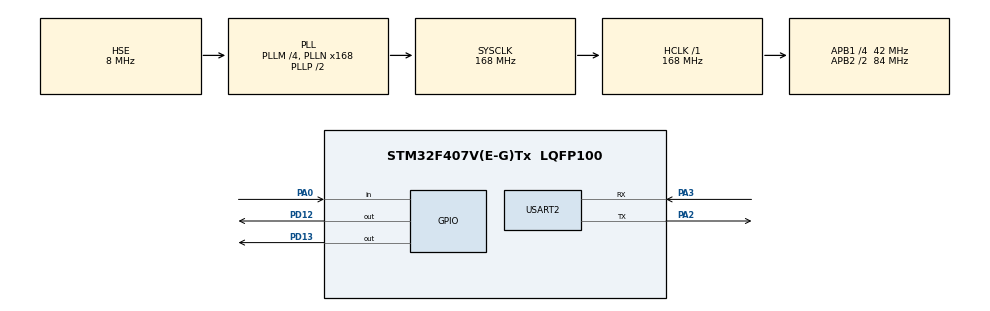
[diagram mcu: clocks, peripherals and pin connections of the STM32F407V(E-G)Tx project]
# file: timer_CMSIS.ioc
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FREERTOS.Tasks01=uartTask,0,128,UartTask,Default,NULL,Dynamic,NULL,NULL;ledTask,0,128,LedTask,Default,NULL,Dynamic,NULL,NULL
FREERTOS.Timers01=periodicTimer,PTCallback,osTimerPeriodic,Default,NULL,Dynamic,NULL;onceTimer,OTCallback,osTimerOnce,Default,NULL,Dynamic,NULL
FREERTOS.configTIMER_TASK_PRIORITY=6
FREERTOS.configUSE_TIMERS=1
Mcu.Family=STM32F4
Mcu.Name=STM32F407V(E-G)Tx
Mcu.Package=LQFP100
NVIC.PriorityGroup=NVIC_PRIORITYGROUP_4
NVIC.TIM6_DAC_IRQn=true\:15\:0\:false\:false\:true\:false\:false\:true
NVIC.TimeBase=TIM6_DAC_IRQn
NVIC.TimeBaseIP=TIM6
NVIC.USART2_IRQn=true\:5\:0\:false\:false\:true\:true\:true\:true
PA0-WKUP.Signal=GPIO_Input
PA2.Mode=Asynchronous
PA2.Signal=USART2_TX
PA3.Mode=Asynchronous
PA3.Signal=USART2_RX
PD12.Signal=GPIO_Output
PD13.Signal=GPIO_Output
PH0-OSC_IN.Mode=HSE-External-Oscillator
PH0-OSC_IN.Signal=RCC_OSC_IN
PH1-OSC_OUT.Mode=HSE-External-Oscillator
PH1-OSC_OUT.Signal=RCC_OSC_OUT
ProjectManager.HeapSize=0x200
ProjectManager.StackSize=0x400
ProjectManager.TargetToolchain=STM32CubeIDE
RCC.48MHZClocksFreq_Value=84000000
RCC.AHBFreq_Value=168000000
RCC.APB1CLKDivider=RCC_HCLK_DIV4
RCC.APB1Freq_Value=42000000
RCC.APB1TimFreq_Value=84000000
RCC.APB2CLKDivider=RCC_HCLK_DIV2
RCC.APB2Freq_Value=84000000
RCC.APB2TimFreq_Value=168000000
RCC.CortexFreq_Value=168000000
RCC.HCLKFreq_Value=168000000
RCC.HSE_VALUE=8000000
RCC.HSI_VALUE=16000000
RCC.LSE_VALUE=32768
RCC.PLLM=4
RCC.PLLN=168
RCC.PLLSourceVirtual=RCC_PLLSOURCE_HSE
RCC.SYSCLKFreq_VALUE=168000000
RCC.SYSCLKSource=RCC_SYSCLKSOURCE_PLLCLK
RCC.VCOOutputFreq_Value=336000000
USART2.VirtualMode=VM_ASYNC
VP_FREERTOS_VS_CMSIS_V1.Mode=CMSIS_V1
VP_SYS_VS_tim6.Mode=TIM6
board=custom

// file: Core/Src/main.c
/* USER CODE BEGIN Header */
/**
  ******************************************************************************
  * @file           : main.c
  * @brief          : Main program body
  ******************************************************************************
  * @attention
  *
  * Copyright (c) 2022 STMicroelectronics.
  * All rights reserved.
  *
  * This software is licensed under terms that can be found in the LICENSE file
  * in the root directory of this software component.
  * If no LICENSE file comes with this software, it is provided AS-IS.
  *
  ******************************************************************************
  */
/* USER CODE END Header */
#include "main.h"
//#include "cmsis_os.h"

/* USER CODE BEGIN Includes */
#include "FreeRTOS.h"
#include "task.h"
#include "timers.h"
#include "queue.h"
#include "semphr.h"
#include "event_groups.h"

/* USER CODE END Includes */

UART_HandleTypeDef huart2;

/* USER CODE BEGIN PV */
//create timer handle
xTimerHandle PTHandle;
xTimerHandle OTHandle;

//create task handle
xTaskHandle uartHandle;
xTaskHandle ledHandle;

//Task functions
void uartTask(void *argument)
{
	xTimerStart(PTHandle,0);
	while(1)
	{
		HAL_UART_Transmit(&huart2, (uint8_t *)"Sending from UART TASK\n",23, 100);
		vTaskDelay(pdMS_TO_TICKS(2000));
	}
}

void ledTask(void *argument)
{
	while(1)
	{
		if(HAL_GPIO_ReadPin(GPIOA, GPIO_PIN_0))
		{
			HAL_GPIO_WritePin(GPIOD, GPIO_PIN_12, 1);
			xTimerStart(OTHandle,0);
		}
		vTaskDelay(pdMS_TO_TICKS(20));
	}
}

void TimerCallback(xTimerHandle xTimer)
{
	if(xTimer == PTHandle)
	{
		HAL_UART_Transmit(&huart2, (uint8_t *)"Sending from Timer Callback\n",28, 100);
	}
	else if(xTimer == OTHandle)
	{
		HAL_GPIO_WritePin(GPIOD, GPIO_PIN_12, 0);
	}
}
/* USER CODE END PV */

void SystemClock_Config(void);
static void MX_GPIO_Init(void);
static void MX_USART2_UART_Init(void);

int main(void)
{

  /* MCU Configuration--------------------------------------------------------*/

  /* Reset of all peripherals, Initializes the Flash interface and the Systick. */
  HAL_Init();

  /* Configure the system clock */
  SystemClock_Config();

  /* Initialize all configured peripherals */
  MX_GPIO_Init();
  MX_USART2_UART_Init();
  /* USER CODE BEGIN 2 */
  //create timer
  PTHandle = xTimerCreate("timer1", pdMS_TO_TICKS(1000), pdTRUE, (void *)1, TimerCallback);
  OTHandle = xTimerCreate("timer2", pdMS_TO_TICKS(4000), pdFALSE, (void *)2, TimerCallback);

  //create tasks
  xTaskCreate(uartTask, "uart", 128, NULL, 1, &uartHandle);
  xTaskCreate(ledTask, "led", 128, NULL, 1, &ledHandle);

  //start
  vTaskStartScheduler();

  /* USER CODE END 2 */

  /* Infinite loop */
  while (1)
  {

  }
}

void SystemClock_Config(void)
{
  RCC_OscInitTypeDef RCC_OscInitStruct = {0};
  RCC_ClkInitTypeDef RCC_ClkInitStruct = {0};

  /** Configure the main internal regulator output voltage
  */
  __HAL_RCC_PWR_CLK_ENABLE();
  __HAL_PWR_VOLTAGESCALING_CONFIG(PWR_REGULATOR_VOLTAGE_SCALE1);
  /** Initializes the RCC Oscillators according to the specified parameters
  * in the RCC_OscInitTypeDef structure.
  */
  RCC_OscInitStruct.OscillatorType = RCC_OSCILLATORTYPE_HSE;
  RCC_OscInitStruct.HSEState = RCC_HSE_ON;
  RCC_OscInitStruct.PLL.PLLState = RCC_PLL_ON;
  RCC_OscInitStruct.PLL.PLLSource = RCC_PLLSOURCE_HSE;
  RCC_OscInitStruct.PLL.PLLM = 4;
  RCC_OscInitStruct.PLL.PLLN = 168;
  RCC_OscInitStruct.PLL.PLLP = RCC_PLLP_DIV2;
  RCC_OscInitStruct.PLL.PLLQ = 4;
  if (HAL_RCC_OscConfig(&RCC_OscInitStruct) != HAL_OK)
  {
    Error_Handler();
  }
  /** Initializes the CPU, AHB and APB buses clocks
  */
  RCC_ClkInitStruct.ClockType = RCC_CLOCKTYPE_HCLK|RCC_CLOCKTYPE_SYSCLK
                              |RCC_CLOCKTYPE_PCLK1|RCC_CLOCKTYPE_PCLK2;
  RCC_ClkInitStruct.SYSCLKSource = RCC_SYSCLKSOURCE_PLLCLK;
  RCC_ClkInitStruct.AHBCLKDivider = RCC_SYSCLK_DIV1;
  RCC_ClkInitStruct.APB1CLKDivider = RCC_HCLK_DIV4;
  RCC_ClkInitStruct.APB2CLKDivider = RCC_HCLK_DIV2;

  if (HAL_RCC_ClockConfig(&RCC_ClkInitStruct, FLASH_LATENCY_5) != HAL_OK)
  {
    Error_Handler();
  }
}

static void MX_USART2_UART_Init(void)
{

  huart2.Instance = USART2;
  huart2.Init.BaudRate = 115200;
  huart2.Init.WordLength = UART_WORDLENGTH_8B;
  huart2.Init.StopBits = UART_STOPBITS_1;
  huart2.Init.Parity = UART_PARITY_NONE;
  huart2.Init.Mode = UART_MODE_TX_RX;
  huart2.Init.HwFlowCtl = UART_HWCONTROL_NONE;
  huart2.Init.OverSampling = UART_OVERSAMPLING_16;
  if (HAL_UART_Init(&huart2) != HAL_OK)
  {
    Error_Handler();
  }

}

static void MX_GPIO_Init(void)
{
  GPIO_InitTypeDef GPIO_InitStruct = {0};

  /* GPIO Ports Clock Enable */
  __HAL_RCC_GPIOH_CLK_ENABLE();
  __HAL_RCC_GPIOA_CLK_ENABLE();
  __HAL_RCC_GPIOD_CLK_ENABLE();

  /*Configure GPIO pin Output Level */
  HAL_GPIO_WritePin(GPIOD, GPIO_PIN_12|GPIO_PIN_13, GPIO_PIN_RESET);

  /*Configure GPIO pin : PA0 */
  GPIO_InitStruct.Pin = GPIO_PIN_0;
  GPIO_InitStruct.Mode = GPIO_MODE_INPUT;
  GPIO_InitStruct.Pull = GPIO_NOPULL;
  HAL_GPIO_Init(GPIOA, &GPIO_InitStruct);

  /*Configure GPIO pins : PD12 PD13 */
  GPIO_InitStruct.Pin = GPIO_PIN_12|GPIO_PIN_13;
  GPIO_InitStruct.Mode = GPIO_MODE_OUTPUT_PP;
  GPIO_InitStruct.Pull = GPIO_NOPULL;
  GPIO_InitStruct.Speed = GPIO_SPEED_FREQ_LOW;
  HAL_GPIO_Init(GPIOD, &GPIO_InitStruct);

}

void HAL_TIM_PeriodElapsedCallback(TIM_HandleTypeDef *htim)
{
  if (htim->Instance == TIM6) {
    HAL_IncTick();
  }
}

void Error_Handler(void)
{
  __disable_irq();
  while (1)
  {
  }
}
